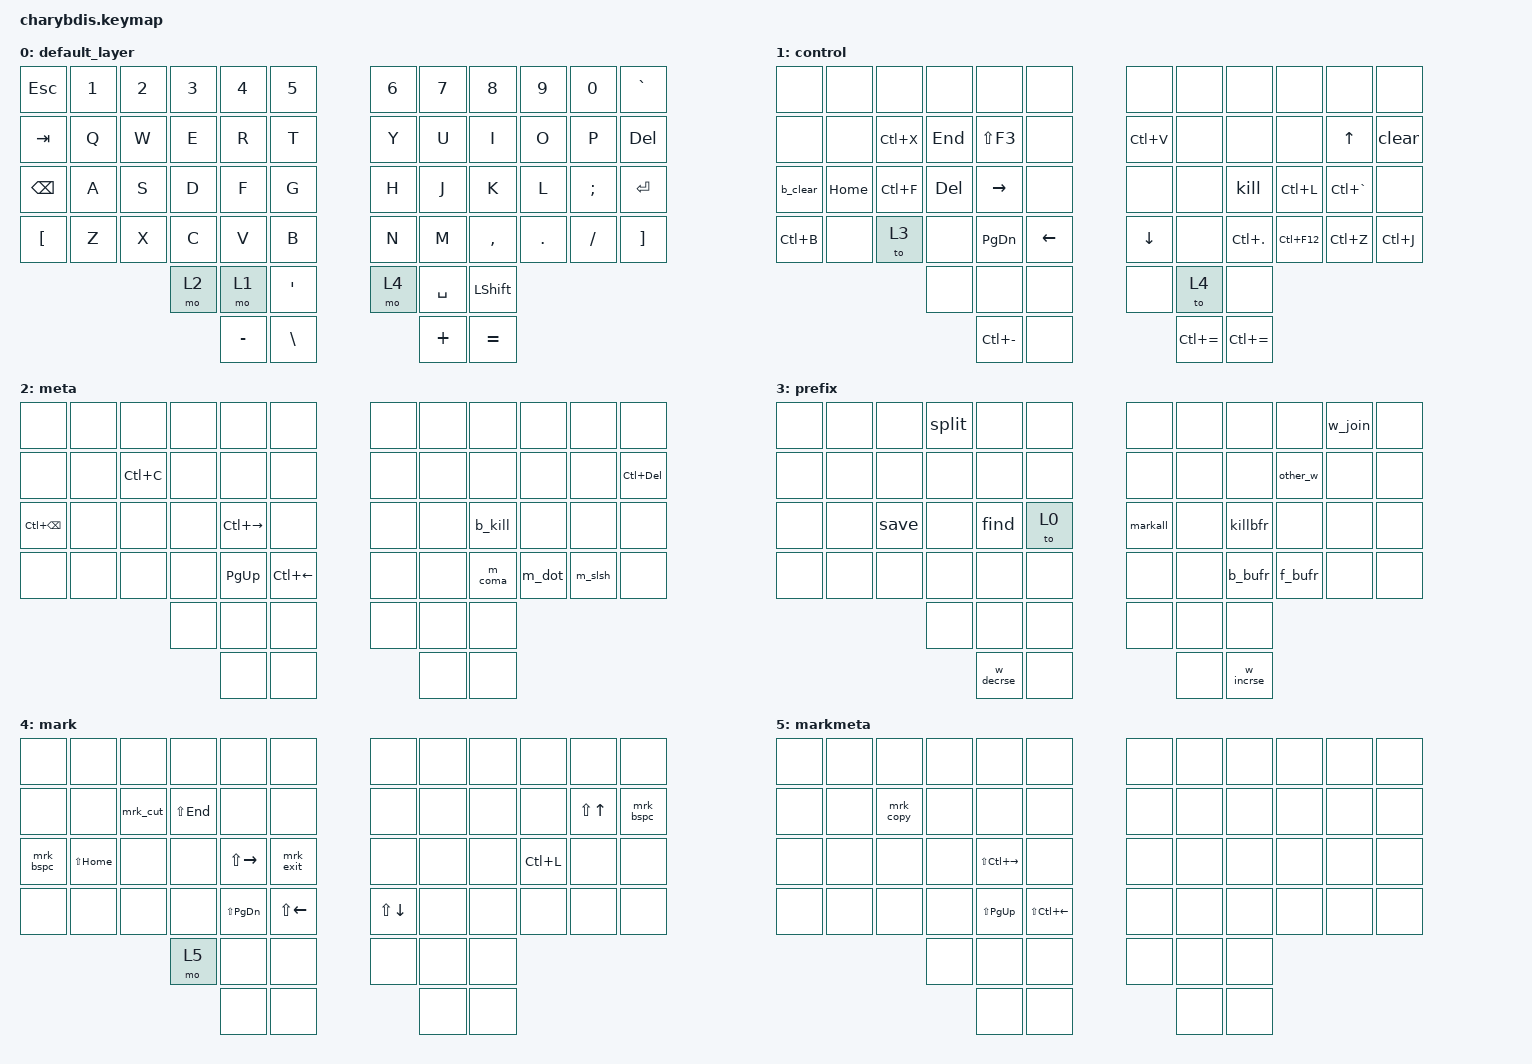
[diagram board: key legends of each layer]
#include <behaviors.dtsi>
#include <dt-bindings/zmk/keys.h>
#include <dt-bindings/zmk/bt.h>
#include <dt-bindings/zmk/ext_power.h>

/ {
    behaviors {
        m_dot: m_dot {
            compatible = "zmk,behavior-mod-morph";
            #binding-cells = <0>;
            bindings = <&kp F12>, <&kp LC(END)>;
            mods = <MOD_LSFT>;
        };
        m_coma: m_coma {
            compatible = "zmk,behavior-mod-morph";
            #binding-cells = <0>;
            bindings = <&kp LA(LEFT)>, <&kp LC(HOME)>;
            mods = <MOD_LSFT>;
        };
        m_slsh: m_slsh {
            compatible = "zmk,behavior-mod-morph";
            #binding-cells = <0>;
            bindings = <&kp LC(SPACE)>, <&kp LC(Y)>;
            mods = <MOD_LSFT>;
        };
    };

    macros {
        find: find {
            compatible = "zmk,behavior-macro";
            #binding-cells = <0>;
            bindings =
                <&macro_tap &kp LC(P)>,
                <&to 0>;
        };
        save: save {
            compatible = "zmk,behavior-macro";
            #binding-cells = <0>;
            bindings =
                <&macro_tap &kp LC(S)>,
                <&to 0>;
        };
        killbfr: killbfr {
            compatible = "zmk,behavior-macro";
            #binding-cells = <0>;
            bindings =
                <&macro_tap &kp LC(W)>,
                <&to 0>;
        };
        nextbfr: nextbfr {
            compatible = "zmk,behavior-macro";
            #binding-cells = <0>;
            bindings =
                <&macro_tap &kp LC(TAB)>,
                <&to 0>;
        };
        markall: markall {
            compatible = "zmk,behavior-macro";
            #binding-cells = <0>;
            bindings =
                <&macro_tap &kp LC(A)>,
                <&to 0>;
        };
        kill: kill {
            compatible = "zmk,behavior-macro";
            #binding-cells = <0>;
            bindings =
                <&macro_tap &kp LS(END)>,
                <&macro_tap &kp LC(C)>,
                <&macro_tap &kp BSPC>;
        };
        b_kill: b_kill {
            compatible = "zmk,behavior-macro";
            #binding-cells = <0>;
            bindings =
                <&macro_tap &kp LS(HOME)>,
                <&macro_tap &kp LC(C)>,
                <&macro_tap &kp BSPC>;
        };
        clear: clear {
            compatible = "zmk,behavior-macro";
            #binding-cells = <0>;
            bindings =
                <&macro_tap &kp LS(END)>,
                <&macro_tap &kp BSPC>;
        };
        b_clear: b_clear {
            compatible = "zmk,behavior-macro";
            #binding-cells = <0>;
            bindings =
                <&macro_tap &kp LS(HOME)>,
                <&macro_tap &kp BSPC>;
        };
        split: split {
            compatible = "zmk,behavior-macro";
            #binding-cells = <0>;
            bindings =
                <&macro_tap &kp LC(BSLH)>,
                <&macro_tap &kp LC(K)>,
                <&macro_tap &kp LC(Y)>,
                <&to 0>;
        };
        w_incrse: w_incrse {
            compatible = "zmk,behavior-macro";
            #binding-cells = <0>;
            bindings =
                <&macro_tap &kp LC(X)>,
                <&macro_tap &kp EQUAL>,
                <&to 0>;
        };
        w_decrse: w_decrse {
            compatible = "zmk,behavior-macro";
            #binding-cells = <0>;
            bindings =
                <&macro_tap &kp LC(X)>,
                <&macro_tap &kp MINUS>,
                <&to 0>;
        };
        other_w: other_w {
            compatible = "zmk,behavior-macro";
            #binding-cells = <0>;
            bindings =
                <&macro_tap &kp LC(K)>,
                <&macro_tap &kp LC(Y)>,
                <&to 0>;
        };
        w_join: w_join {
            compatible = "zmk,behavior-macro";
            #binding-cells = <0>;
            bindings =
                <&macro_tap &kp LC(X)>,
                <&macro_tap &kp N0>,
                <&to 0>;
        };
        f_bufr: f_bufr {
            compatible = "zmk,behavior-macro";
            #binding-cells = <0>;
            bindings =
                <&macro_tap &kp LC(PG_DN)>,
                <&to 0>;
        };
        b_bufr: b_bufr {
            compatible = "zmk,behavior-macro";
            #binding-cells = <0>;
            bindings =
                <&macro_tap &kp LC(PG_UP)>,
                <&to 0>;
        };
        mrk_bspc: mrk_bspc {
            compatible = "zmk,behavior-macro";
            #binding-cells = <0>;
            bindings =
                <&macro_tap &kp BSPC>,
                <&to 0>;
        };
        mrk_copy: mrk_copy {
            compatible = "zmk,behavior-macro";
            #binding-cells = <0>;
            bindings =
                <&macro_tap &kp LC(C)>,
                <&macro_tap &kp ESC>,
                <&to 0>;
        };
        mrk_cut: mrk_cut {
            compatible = "zmk,behavior-macro";
            #binding-cells = <0>;
            bindings =
                <&macro_tap &kp LC(X)>,
                <&to 0>;
        };
        mrk_exit: mrk_exit {
            compatible = "zmk,behavior-macro";
            #binding-cells = <0>;
            bindings =
                <&macro_tap &kp ESC>,
                <&to 0>;
        };
    };

    keymap {
        compatible = "zmk,keymap";
        default_layer {
            bindings = <
&kp ESC       &kp N1     &kp N2     &kp N3     &kp N4     &kp N5                &kp N6     &kp N7     &kp N8       &kp N9      &kp N0        &kp GRAVE
&kp TAB       &kp Q      &kp W      &kp E      &kp R      &kp T                 &kp Y      &kp U      &kp I        &kp O       &kp P         &kp DEL
&kp BSPC      &kp A      &kp S      &kp D      &kp F      &kp G                 &kp H      &kp J      &kp K        &kp L       &kp SEMI      &kp RET
&kp LBKT      &kp Z      &kp X      &kp C      &kp V      &kp B                 &kp N      &kp M      &kp COMMA    &kp DOT     &kp SLASH     &kp RBKT
                                    &mo 2      &mo 1      &kp SQT               &mo 4      &kp SPACE  &kp LSHFT
                                               &kp MINUS  &kp BSLH                         &kp PLUS  &kp EQUAL
            >;
        };
        control {
            display-name = "control";
            bindings = <
&none      &none      &none        &none       &none        &none                &none      &none     &none        &none        &none         &none
&none      &none      &kp LC(X)    &kp END     &kp LS(F3)   &none                &kp LC(V)  &none     &none        &none        &kp UP        &clear
&b_clear   &kp HOME   &kp LC(F)    &kp DEL     &kp RIGHT    &none                &none      &none     &kill        &kp LC(L)    &kp LC(GRAVE) &none
&kp LC(B)  &none      &to 3        &none       &kp PG_DN    &kp LEFT             &kp DOWN   &none     &kp LC(DOT)  &kp LC(F12)  &kp LC(Z)     &kp LC(J)
                                   &none       &none        &none                &none      &to 4     &none
                                            &kp LC(MINUS)   &none           &kp LC(EQUAL)   &kp LC(EQUAL)
            >;
        };
        meta {
            display-name = "meta";
            bindings = <
&none          &none    &none       &none    &none          &none                 &none     &none    &none       &none     &none       &none
&none          &none    &kp LC(C)   &none    &none          &none                 &none     &none    &none       &none     &none       &kp LC(DEL)
&kp LC(BSPC)   &none    &none       &none    &kp LC(RIGHT)  &none                 &none     &none    &b_kill     &none     &none       &none
&none          &none    &none       &none    &kp PG_UP      &kp LC(LEFT)          &none     &none    &m_coma     &m_dot    &m_slsh     &none
                                    &none    &none          &none                 &none     &none    &none
                                             &none          &none                 &none     &none
            >;
        };
        prefix {
            display-name = "prefix";
            bindings = <
&none       &none       &none      &split      &none       &none                    &none        &none      &none        &none       &w_join      &none
&none       &none       &none      &none       &none       &none                    &none        &none      &none        &other_w    &none      &none
&none       &none       &save      &none       &find       &to 0                    &markall     &none      &killbfr     &none       &none      &none
&none       &none       &none      &none       &none       &none                    &none        &none      &b_bufr      &f_bufr     &none      &none
                                   &none       &none       &none                    &none        &none      &none
                                            &w_decrse      &none                    &none        &w_incrse
            >;
        };
        mark {
            display-name = "mark";
            bindings = <
&none       &none         &none     &none        &none          &none                  &none         &none     &none    &none     &none       &none
&none       &none         &mrk_cut  &kp LS(END)  &none          &none                  &none         &none     &none    &none     &kp LS(UP)  &mrk_bspc
&mrk_bspc   &kp LS(HOME)  &none     &none        &kp LS(RIGHT)  &mrk_exit              &none         &none     &none    &kp LC(L) &none       &none
&none       &none         &none     &none        &kp LS(PG_DN)  &kp LS(LEFT)           &kp LS(DOWN)  &none     &none    &none     &none       &none
                                    &mo 5        &none          &none                  &none         &none     &none
                                                 &none          &none                  &none         &none
            >;
        };
        markmeta {
            display-name = "markmeta";
            bindings = <
&none    &none      &none       &none     &none              &none                     &none     &none     &none      &none      &none       &none
&none    &none      &mrk_copy   &none     &none              &none                     &none     &none     &none      &none      &none       &none
&none    &none      &none       &none     &kp LS(LC(RIGHT))  &none                     &none     &none     &none      &none      &none       &none
&none    &none      &none       &none     &kp LS(PG_UP)      &kp LS(LC(LEFT))          &none     &none     &none      &none      &none       &none
                                &none     &none              &none                     &none     &none     &none
                                          &none              &none                     &none     &none
            >;
        };
    };
};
